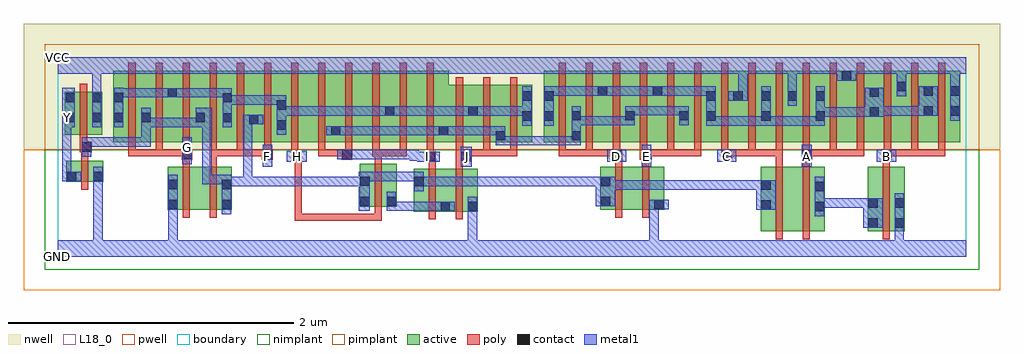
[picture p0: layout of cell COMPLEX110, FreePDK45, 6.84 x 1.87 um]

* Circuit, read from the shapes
.subckt COMPLEX110 A B C D E F G GND H I J VCC Y
M1 GND n1 Y VSUBS nfet w=0.15u l=0.05u
M2 n2 G GND VSUBS nfet w=0.3u l=0.05u
M3 n1 F n2 VSUBS nfet w=0.3u l=0.05u
M4 n3 H n1 VSUBS nfet w=0.3u l=0.05u
M5 n3 I n1 VSUBS nfet w=0.3u l=0.05u
M6 GND J n3 VSUBS nfet w=0.3u l=0.05u
M7 n4 D n1 VSUBS nfet w=0.3u l=0.05u
M8 GND E n4 VSUBS nfet w=0.3u l=0.05u
M9 n5 C n1 VSUBS nfet w=0.45u l=0.05u
M10 n6 A n5 VSUBS nfet w=0.45u l=0.05u
M11 GND B n6 VSUBS nfet w=0.45u l=0.05u
M12 VCC n1 Y n7 pfet w=0.3u l=0.05u
M13 n1 G n8 n7 pfet w=0.5u l=0.05u m=3
M14 n8 F n1 n7 pfet w=0.5u l=0.05u m=3
M15 n9 H n8 n7 pfet w=0.5u l=0.05u
M16 n10 I n9 n7 pfet w=0.5u l=0.05u
M17 n11 I n10 n7 pfet w=0.5u l=0.05u
M18 n8 H n11 n7 pfet w=0.5u l=0.05u
M19 n12 H n8 n7 pfet w=0.5u l=0.05u
M20 n10 I n12 n7 pfet w=0.5u l=0.05u
M21 n8 J n10 n7 pfet w=0.4u l=0.05u m=3
M22 n10 D n13 n7 pfet w=0.5u l=0.05u m=3
M23 n13 E n10 n7 pfet w=0.5u l=0.05u m=3
M24 VCC C n13 n7 pfet w=0.5u l=0.05u m=3
M25 n13 A VCC n7 pfet w=0.5u l=0.05u m=3
M26 VCC B n13 n7 pfet w=0.5u l=0.05u m=3
.ends

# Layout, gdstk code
import gdstk
lib = gdstk.Library(unit=1e-6, precision=1e-09)
def R(c, l, rs):  # rectangles x0, y0, x1, y1
    for r in rs: c.add(gdstk.rectangle(r[:2], r[2:], *l))
def A(c, l, x, y, w, h, nx, ny, dx, dy):  # array of equal rectangles
    R(c, l, [(x+i*dx, y+j*dy, x+i*dx+w, y+j*dy+h) for i in range(nx) for j in range(ny)])
active = (1, 0)
pwell = (2, 0)
nwell = (3, 0)
nimplant = (4, 0)
pimplant = (5, 0)
poly = (9, 0)
contact = (10, 0)
metal1 = (11, 0)
L18_0 = (18, 0)
boundary = (235, 0)

complex110 = lib.new_cell('COMPLEX110')
A(complex110, active, 4.927, 0.2, 0.075, 0.43, 3, 1, 0.375, 0)
A(complex110, active, 4.732, 0.805, 0.27, 0.5, 3, 1, 0.38, 0)
A(complex110, active, 4.732, 0.807, 0.075, 0.498, 3, 1, 0.38, 0)
A(complex110, active, 4.927, 0.807, 0.075, 0.393, 3, 1, 0.38, 0)
R(complex110, active, [(4.927,0.18,5.152,0.63), (5.152,0.18,5.377,0.63), (5.677,0.18,5.937,0.63), (5.862,0.182,5.937,0.63), (2.495,0.317,2.755,0.617), (2.68,0.317,2.755,0.48), (2.68,0.317,2.945,0.617), (2.87,0.317,2.945,0.48), (0.772,0.33,0.997,0.63), (0.772,0.33,0.847,0.63), (0.997,0.33,1.222,0.63), (1.147,0.33,1.222,0.63), (2.495,0.33,2.57,0.617), (3.802,0.33,4.027,0.63), (3.802,0.33,3.877,0.63), (4.027,0.33,4.252,0.63), (4.177,0.33,4.252,0.497), (2.117,0.352,2.192,0.652), (2.117,0.352,2.377,0.652), (2.302,0.352,2.377,0.652), (0.062,0.525,0.137,0.675), (0.062,0.525,0.322,0.675), (0.247,0.525,0.322,0.675), (0.392,0.805,0.657,1.305), (0.392,0.805,0.467,1.2), (0.582,0.805,0.842,1.305), (0.582,0.805,0.657,1.07), (0.767,0.805,1.037,1.305), (0.767,0.805,0.842,1.2), (0.962,0.805,1.227,1.305), (0.962,0.805,1.037,1.07), (1.152,0.805,1.412,1.305), (1.337,0.805,1.607,1.305), (1.337,0.805,1.412,1.07), (1.532,0.805,1.607,1.2), (1.532,0.805,1.757,1.305), (1.757,0.805,1.987,1.305), (1.912,0.805,1.987,1.07), (1.912,0.805,2.137,1.305), (2.137,0.805,2.365,1.305), (2.29,0.805,2.365,1.2), (2.29,0.805,2.517,1.305), (2.517,0.805,2.742,1.305), (2.667,0.805,2.742,1.07), (2.667,0.805,2.95,1.205), (2.875,0.805,3.142,1.205), (3.067,0.805,3.142,1.07), (3.067,0.805,3.327,1.205), (3.252,0.805,3.327,1.2), (3.407,0.805,3.672,1.305), (3.407,0.805,3.482,1.2), (3.597,0.805,3.857,1.305), (3.597,0.805,3.672,1.07), (3.782,0.805,4.05,1.305), (3.975,0.805,4.242,1.305), (3.975,0.805,4.05,1.07), (4.167,0.805,4.427,1.305), (4.352,0.805,4.617,1.305), (4.542,0.805,4.807,1.305), (4.927,0.805,5.187,1.305), (5.307,0.805,5.567,1.305), (5.687,0.805,5.952,1.305), (5.877,0.805,6.14,1.305), (6.065,0.805,6.327,1.305), (6.252,0.805,6.327,1.305), (1.152,0.807,1.227,1.2), (3.782,0.807,3.857,1.2), (4.167,0.807,4.242,1.2), (4.352,0.807,4.427,1.07), (4.542,0.807,4.617,1.2), (5.877,0.807,5.952,1.305), (6.065,0.807,6.14,1.2), (0.052,0.857,0.312,1.157), (0.052,0.857,0.127,1.155), (0.237,0.857,0.312,1.157), (2.875,0.907,2.95,1.2)])
R(complex110, pwell, [(-0.235,-0.235,6.605,0.75)])
R(complex110, nwell, [(-0.235,0.75,6.605,1.635)])
R(complex110, nimplant, [(-0.09,-0.09,6.46,0.75)])
R(complex110, pimplant, [(-0.09,0.75,6.46,1.49)])
A(complex110, poly, 0.497, 0.705, 0.05, 0.095, 6, 1, 0.19, 0)
A(complex110, poly, 1.827, 0.705, 0.05, 0.095, 4, 1, 0.19, 0)
A(complex110, poly, 2.792, 0.705, 0.05, 0.095, 3, 1, 0.19, 0)
A(complex110, poly, 3.512, 0.705, 0.05, 0.095, 15, 1, 0.19, 0)
A(complex110, poly, 4.272, 0.705, 0.24, 0.05, 4, 1, 0.57, 0)
A(complex110, poly, 0.497, 0.75, 0.05, 0.61, 12, 1, 0.19, 0)
A(complex110, poly, 2.792, 0.75, 0.05, 0.51, 3, 1, 0.19, 0)
A(complex110, poly, 3.512, 0.75, 0.05, 0.61, 15, 1, 0.19, 0)
R(complex110, poly, [(5.032,0.125,5.082,0.685), (5.222,0.125,5.272,0.685), (5.782,0.125,5.832,0.685), (1.662,0.252,1.712,0.302), (1.662,0.252,1.712,0.302), (1.662,0.252,1.712,0.302), (1.662,0.252,1.712,0.302), (1.662,0.252,1.712,0.302), (1.662,0.252,1.845,0.302), (1.662,0.252,1.712,0.715), (1.795,0.252,1.845,0.302), (1.795,0.252,1.845,0.302), (1.795,0.252,1.845,0.302), (1.795,0.252,1.845,0.302), (1.795,0.252,1.845,0.302), (1.795,0.252,2.01,0.302), (1.96,0.252,2.01,0.302), (1.96,0.252,2.01,0.302), (1.96,0.252,2.01,0.302), (1.96,0.252,2.01,0.302), (1.96,0.252,2.01,0.302), (1.96,0.252,2.272,0.302), (2.222,0.252,2.272,0.347), (2.222,0.252,2.272,0.302), (2.6,0.262,2.65,0.672), (2.79,0.262,2.84,0.672), (0.877,0.275,0.927,0.685), (1.067,0.275,1.117,0.685), (3.907,0.275,3.957,0.685), (4.097,0.275,4.147,0.685), (2.222,0.297,2.272,0.707), (0.167,0.47,0.217,0.73), (2.6,0.622,2.65,0.717), (2.79,0.622,2.84,0.717), (0.877,0.635,0.927,0.73), (1.067,0.635,1.117,0.755), (3.907,0.635,3.957,0.73), (4.097,0.635,4.147,0.73), (5.032,0.635,5.082,0.755), (5.222,0.635,5.272,0.73), (5.782,0.635,5.832,0.73), (2.222,0.657,2.272,0.755), (1.637,0.665,1.712,0.74), (2.575,0.667,2.65,0.742), (2.79,0.667,2.897,0.755), (0.167,0.68,0.217,0.782), (0.87,0.68,0.945,0.755), (1.432,0.68,1.507,0.755), (1.992,0.68,2.067,0.755), (3.882,0.68,3.957,0.755), (4.082,0.68,4.165,0.755), (4.652,0.68,4.727,0.755), (5.215,0.68,5.29,0.755), (5.772,0.68,5.847,0.755), (1.637,0.69,1.687,0.8), (2.587,0.692,2.637,0.8), (0.497,0.705,0.737,0.755), (0.497,0.705,0.547,0.755), (0.497,0.705,0.547,0.755), (0.497,0.705,0.547,0.755), (0.687,0.705,0.737,0.755), (0.687,0.705,0.737,0.755), (0.687,0.705,0.737,0.755), (0.687,0.705,0.92,0.755), (1.067,0.705,1.307,0.755), (1.067,0.705,1.117,0.755), (1.067,0.705,1.117,0.755), (1.067,0.705,1.117,0.755), (1.257,0.705,1.307,0.755), (1.257,0.705,1.307,0.755), (1.257,0.705,1.307,0.755), (1.257,0.705,1.482,0.755), (1.827,0.705,1.877,0.755), (1.827,0.705,1.877,0.755), (1.827,0.705,1.877,0.755), (1.827,0.705,2.042,0.755), (2.207,0.705,2.272,0.755), (2.222,0.705,2.272,0.755), (2.222,0.705,2.272,0.755), (2.222,0.705,2.447,0.755), (2.397,0.705,2.447,0.755), (2.847,0.705,2.897,0.755), (2.847,0.705,2.897,0.755), (2.847,0.705,3.032,0.755), (2.982,0.705,3.032,0.755), (2.982,0.705,3.045,0.755), (2.995,0.705,3.045,0.755), (2.995,0.705,3.222,0.755), (3.172,0.705,3.222,0.755), (3.512,0.705,3.752,0.755), (3.512,0.705,3.562,0.755), (3.512,0.705,3.562,0.755), (3.512,0.705,3.562,0.755), (3.702,0.705,3.752,0.755), (3.702,0.705,3.932,0.755), (3.882,0.705,3.932,0.755), (3.882,0.705,3.932,0.755), (4.115,0.705,4.165,0.755), (4.115,0.705,4.165,0.755), (4.115,0.705,4.322,0.755), (4.272,0.705,4.322,0.755), (4.272,0.705,4.322,0.755), (4.272,0.705,4.322,0.755), (4.462,0.705,4.512,0.755), (4.677,0.705,4.727,0.755), (4.677,0.705,4.727,0.755), (4.677,0.705,4.892,0.755), (4.842,0.705,4.892,0.755), (4.842,0.705,4.892,0.755), (4.842,0.705,4.892,0.755), (5.032,0.705,5.082,0.755), (5.24,0.705,5.29,0.755), (5.24,0.705,5.29,0.755), (5.24,0.705,5.462,0.755), (5.412,0.705,5.462,0.755), (5.412,0.705,5.462,0.755), (5.412,0.705,5.462,0.755), (5.602,0.705,5.652,0.755), (5.797,0.705,5.847,0.755), (5.797,0.705,5.847,0.755), (5.797,0.705,6.032,0.755), (5.982,0.705,6.032,0.755), (5.982,0.705,6.032,0.755), (5.982,0.705,6.032,0.755), (6.172,0.705,6.222,0.755), (0.157,0.732,0.24,0.807), (0.157,0.757,0.207,0.852), (0.157,0.802,0.207,1.212)])
R(complex110, contact, [(5.682,0.205,5.747,0.27), (5.867,0.205,5.932,0.27), (5.307,0.32,5.372,0.385), (2.685,0.322,2.75,0.387), (2.875,0.322,2.94,0.387), (4.932,0.332,4.997,0.397), (0.777,0.335,0.842,0.4), (1.152,0.335,1.217,0.4), (4.182,0.335,4.247,0.4), (5.682,0.345,5.747,0.41), (5.867,0.345,5.932,0.41), (3.807,0.355,3.872,0.42), (2.122,0.357,2.187,0.422), (2.307,0.357,2.372,0.422), (5.307,0.46,5.372,0.525), (4.932,0.472,4.997,0.537), (0.777,0.475,0.842,0.54), (1.152,0.475,1.217,0.54), (2.5,0.495,2.565,0.56), (3.807,0.495,3.872,0.56), (2.122,0.497,2.187,0.562), (0.067,0.53,0.132,0.595), (0.252,0.53,0.317,0.595), (1.642,0.67,1.707,0.735), (2.58,0.672,2.645,0.737), (2.827,0.672,2.892,0.737), (0.875,0.685,0.94,0.75), (1.437,0.685,1.502,0.75), (1.997,0.685,2.062,0.75), (3.887,0.685,3.952,0.75), (4.095,0.685,4.16,0.75), (4.657,0.685,4.722,0.75), (5.22,0.685,5.285,0.75), (5.777,0.685,5.842,0.75), (0.17,0.737,0.235,0.802), (3.072,0.817,3.137,0.882), (3.602,0.817,3.667,0.882), (1.917,0.852,1.982,0.917), (2.672,0.852,2.737,0.917), (1.537,0.892,1.602,0.957), (1.342,0.93,1.407,0.995), (1.157,0.942,1.222,1.007), (0.057,0.945,0.122,1.01), (0.242,0.945,0.307,1.01), (0.397,0.945,0.462,1.01), (0.587,0.945,0.652,1.01), (0.967,0.945,1.032,1.01), (3.257,0.955,3.322,1.02), (3.412,0.955,3.477,1.02), (4.547,0.955,4.612,1.02), (4.932,0.955,4.997,1.02), (5.312,0.955,5.377,1.02), (3.602,0.957,3.667,1.022), (3.98,0.957,4.045,1.022), (4.357,0.957,4.422,1.022), (5.692,0.982,5.757,1.047), (2.295,0.99,2.36,1.055), (2.88,0.99,2.945,1.055), (6.07,0.99,6.135,1.055), (6.257,0.99,6.322,1.055), (1.537,1.032,1.602,1.097), (1.157,1.082,1.222,1.147), (0.057,1.085,0.122,1.15), (0.242,1.085,0.307,1.15), (0.397,1.085,0.462,1.15), (3.257,1.095,3.322,1.16), (3.412,1.095,3.477,1.16), (4.547,1.095,4.612,1.16), (4.737,1.095,4.802,1.16), (4.932,1.095,4.997,1.16), (5.117,1.095,5.182,1.16), (5.312,1.095,5.377,1.16), (0.772,1.117,0.837,1.182), (5.692,1.122,5.757,1.187), (3.787,1.13,3.852,1.195), (4.172,1.13,4.237,1.195), (6.07,1.13,6.135,1.195), (6.257,1.13,6.322,1.195), (5.882,1.162,5.947,1.227), (5.497,1.235,5.562,1.3)])
R(complex110, metal1, [(0,0,6.37,0.115), (0.252,0.05,0.317,0.115), (0.252,0.05,0.317,0.115), (0.252,0.05,0.317,0.115), (0.252,0.05,0.317,0.115), (0.252,0.05,0.317,0.115), (0.252,0.05,0.317,0.115), (0.252,0.05,0.317,0.56), (0.777,0.05,0.842,0.115), (0.777,0.05,0.842,0.115), (0.777,0.05,0.842,0.115), (0.777,0.05,0.842,0.115), (0.777,0.05,0.842,0.365), (2.875,0.05,2.94,0.352), (4.147,0.05,4.212,0.115), (4.147,0.05,4.212,0.115), (4.147,0.05,4.212,0.4), (5.867,0.05,5.932,0.235), (5.867,0.05,5.932,0.115), (5.867,0.05,5.932,0.115), (5.867,0.17,5.932,0.445), (5.647,0.205,5.782,0.41), (5.307,0.285,5.372,0.56), (2.875,0.287,2.94,0.352), (2.875,0.287,2.94,0.352), (2.875,0.287,2.94,0.352), (2.875,0.287,2.94,0.352), (2.875,0.287,2.94,0.422), (0.777,0.3,0.842,0.575), (1.152,0.3,1.217,0.575), (2.112,0.322,2.187,0.597), (2.307,0.322,2.372,0.457), (2.307,0.322,2.452,0.387), (2.387,0.322,2.452,0.387), (2.387,0.322,2.532,0.387), (2.467,0.322,2.532,0.387), (2.467,0.322,2.59,0.387), (2.525,0.322,2.59,0.387), (2.525,0.322,2.715,0.387), (2.65,0.322,2.785,0.387), (4.897,0.332,5.032,0.537), (4.147,0.335,4.212,0.4), (4.147,0.335,4.212,0.4), (4.147,0.335,4.282,0.4), (5.307,0.345,5.372,0.41), (5.307,0.345,5.372,0.41), (5.307,0.345,5.572,0.41), (5.507,0.345,5.572,0.41), (5.507,0.345,5.572,0.41), (5.507,0.345,5.572,0.41), (5.507,0.345,5.712,0.41), (3.772,0.355,3.907,0.56), (2.5,0.46,2.565,0.595), (3.842,0.472,3.907,0.537), (3.842,0.472,3.907,0.537), (3.842,0.472,4.065,0.537), (4,0.472,4.065,0.537), (4,0.472,4.065,0.537), (4,0.472,4.065,0.537), (4,0.472,4.285,0.537), (4.22,0.472,4.285,0.537), (4.22,0.472,4.285,0.537), (4.22,0.472,4.285,0.537), (4.22,0.472,4.475,0.537), (4.41,0.472,4.475,0.537), (4.41,0.472,4.475,0.537), (4.41,0.472,4.475,0.537), (4.41,0.472,4.612,0.537), (4.547,0.472,4.612,0.537), (4.547,0.472,4.612,0.537), (4.547,0.472,4.612,0.537), (4.547,0.472,4.825,0.537), (4.76,0.472,4.825,0.537), (4.76,0.472,4.825,0.537), (4.76,0.472,4.825,0.537), (4.76,0.472,4.962,0.537), (0.252,0.495,0.317,0.63), (1.152,0.495,1.365,0.56), (1.3,0.495,1.365,0.56), (1.3,0.495,1.365,0.56), (1.3,0.495,1.365,0.56), (1.3,0.495,1.365,0.56), (1.3,0.495,1.365,0.56), (1.3,0.495,1.502,0.56), (1.3,0.495,1.365,0.995), (1.437,0.495,1.502,0.56), (1.437,0.495,1.502,0.56), (1.437,0.495,1.502,0.56), (1.437,0.495,1.64,0.56), (1.575,0.495,1.64,0.56), (1.575,0.495,1.81,0.56), (1.745,0.495,1.81,0.56), (1.745,0.495,1.88,0.56), (1.815,0.495,1.88,0.56), (1.815,0.495,2.017,0.56), (1.952,0.495,2.017,0.56), (1.952,0.495,2.177,0.56), (2.112,0.495,2.177,0.56), (2.112,0.495,2.177,0.56), (2.5,0.495,2.702,0.56), (2.637,0.495,2.702,0.56), (2.637,0.495,2.702,0.56), (2.637,0.495,2.702,0.56), (2.637,0.495,2.892,0.56), (2.827,0.495,2.892,0.56), (2.827,0.495,3,0.56), (2.935,0.495,3,0.56), (2.935,0.495,3.047,0.56), (2.982,0.495,3.047,0.56), (2.982,0.495,3.185,0.56), (3.12,0.495,3.185,0.56), (3.12,0.495,3.185,0.56), (3.12,0.495,3.185,0.56), (3.12,0.495,3.322,0.56), (3.257,0.495,3.322,0.56), (3.257,0.495,3.477,0.56), (3.412,0.495,3.477,0.56), (3.412,0.495,3.615,0.56), (3.55,0.495,3.615,0.56), (3.55,0.495,3.615,0.56), (3.55,0.495,3.615,0.56), (3.55,0.495,3.76,0.56), (3.695,0.495,3.76,0.56), (3.695,0.495,3.837,0.56), (1.015,0.51,1.08,0.575), (1.015,0.51,1.08,0.575), (1.015,0.51,1.08,0.575), (1.015,0.51,1.217,0.575), (1.015,0.51,1.08,0.975), (1.152,0.51,1.217,0.575), (1.152,0.51,1.217,0.575), (0.032,0.53,0.167,0.595), (0.032,0.53,0.097,0.727), (2.122,0.53,2.317,0.595), (2.252,0.53,2.317,0.595), (2.252,0.53,2.317,0.595), (2.252,0.53,2.317,0.595), (2.252,0.53,2.452,0.595), (2.387,0.53,2.452,0.595), (2.387,0.53,2.565,0.595), (1.437,0.632,1.505,0.785), (2.827,0.632,2.902,0.772), (4.095,0.632,4.162,0.785), (5.217,0.632,5.285,0.785), (0.875,0.65,0.942,0.837), (0.032,0.662,0.097,0.727), (0.032,0.662,0.097,0.727), (0.032,0.662,0.097,0.727), (0.032,0.662,0.097,0.975), (1.607,0.665,1.747,0.74), (2.522,0.667,2.68,0.737), (3.852,0.667,3.987,0.75), (4.622,0.667,4.757,0.75), (5.742,0.667,5.877,0.75), (2.467,0.672,2.587,0.737), (2.467,0.672,2.532,0.75), (1.962,0.685,2.097,0.75), (2.032,0.685,2.155,0.75), (2.09,0.685,2.155,0.75), (2.09,0.685,2.315,0.75), (2.25,0.685,2.315,0.75), (2.25,0.685,2.325,0.75), (2.26,0.685,2.325,0.75), (2.26,0.685,2.452,0.75), (2.387,0.685,2.452,0.75), (2.387,0.685,2.532,0.75), (0.17,0.702,0.235,0.837), (0.17,0.772,0.235,0.837), (0.17,0.772,0.235,0.837), (0.17,0.772,0.445,0.837), (0.38,0.772,0.445,0.837), (0.38,0.772,0.445,0.837), (0.38,0.772,0.445,0.837), (0.38,0.772,0.652,0.837), (0.587,0.772,0.652,0.837), (0.587,0.772,0.652,0.975), (3.072,0.782,3.137,0.917), (3.072,0.782,3.322,0.847), (3.257,0.782,3.322,0.847), (3.257,0.782,3.322,0.847), (3.257,0.782,3.322,0.847), (3.257,0.782,3.46,0.847), (3.395,0.782,3.46,0.847), (3.395,0.782,3.46,0.847), (3.395,0.782,3.46,0.847), (3.395,0.782,3.667,0.847), (3.602,0.782,3.667,1.057), (1.882,0.852,2.017,0.917), (1.952,0.852,2.017,0.917), (1.952,0.852,2.017,0.917), (1.952,0.852,2.167,0.917), (2.102,0.852,2.167,0.917), (2.102,0.852,2.315,0.917), (2.25,0.852,2.315,0.917), (2.25,0.852,2.325,0.917), (2.26,0.852,2.325,0.917), (2.26,0.852,2.452,0.917), (2.387,0.852,2.452,0.917), (2.387,0.852,2.532,0.917), (2.467,0.852,2.532,0.917), (2.467,0.852,2.59,0.917), (2.525,0.852,2.59,0.917), (2.525,0.852,2.702,0.917), (2.637,0.852,2.772,0.917), (2.707,0.852,2.91,0.917), (2.845,0.852,2.91,0.917), (2.845,0.852,3,0.917), (2.935,0.852,3,0.917), (2.935,0.852,3.047,0.917), (2.982,0.852,3.047,0.917), (2.982,0.852,3.137,0.917), (1.537,0.857,1.602,1.132), (1.157,0.907,1.222,1.182), (0.032,0.91,0.122,1.185), (0.242,0.91,0.307,1.185), (0.397,0.91,0.462,1.185), (0.587,0.91,0.652,0.975), (0.587,0.91,0.652,0.975), (0.587,0.91,0.652,1.045), (0.587,0.91,0.79,0.975), (0.725,0.91,0.79,0.975), (0.725,0.91,1.032,0.975), (0.967,0.91,1.032,0.975), (0.967,0.91,1.032,0.975), (0.967,0.91,1.08,1.045), (3.257,0.92,3.322,1.195), (3.412,0.92,3.477,1.195), (4.547,0.92,4.612,1.195), (4.547,0.92,4.612,0.985), (4.547,0.92,4.612,0.985), (4.547,0.92,4.75,0.985), (4.685,0.92,4.75,0.985), (4.685,0.92,4.75,0.985), (4.685,0.92,4.75,0.985), (4.685,0.92,4.997,0.985), (4.932,0.92,4.997,1.195), (4.932,0.92,4.997,0.985), (4.932,0.92,4.997,0.985), (4.932,0.92,5.235,0.985), (5.17,0.92,5.235,0.985), (5.17,0.92,5.235,0.985), (5.17,0.92,5.235,0.985), (5.17,0.92,5.377,0.985), (5.312,0.92,5.377,1.195), (3.602,0.922,3.752,0.987), (3.687,0.922,3.752,0.987), (3.687,0.922,3.897,0.987), (3.832,0.922,3.897,0.987), (3.832,0.922,3.897,0.987), (3.832,0.922,3.897,0.987), (3.832,0.922,4.045,0.987), (3.98,0.922,4.045,1.057), (4.357,0.922,4.422,1.057), (1.3,0.93,1.442,0.995), (6.257,0.955,6.322,1.23), (5.312,0.982,5.377,1.047), (5.312,0.982,5.377,1.047), (5.312,0.982,5.572,1.047), (5.507,0.982,5.572,1.047), (5.507,0.982,5.572,1.047), (5.507,0.982,5.572,1.047), (5.507,0.982,5.722,1.047), (5.657,0.982,5.792,1.187), (1.537,0.99,1.742,1.055), (1.677,0.99,1.742,1.055), (1.677,0.99,1.81,1.055), (1.745,0.99,1.81,1.055), (1.745,0.99,1.88,1.055), (1.815,0.99,1.88,1.055), (1.815,0.99,2.017,1.055), (1.952,0.99,2.017,1.055), (1.952,0.99,2.177,1.055), (2.112,0.99,2.177,1.055), (2.112,0.99,2.177,1.055), (2.112,0.99,2.177,1.055), (2.112,0.99,2.315,1.055), (2.25,0.99,2.315,1.055), (2.25,0.99,2.325,1.055), (2.26,0.99,2.395,1.055), (2.33,0.99,2.452,1.055), (2.387,0.99,2.452,1.055), (2.387,0.99,2.532,1.055), (2.467,0.99,2.532,1.055), (2.467,0.99,2.755,1.055), (2.69,0.99,2.755,1.055), (2.69,0.99,2.755,1.055), (2.69,0.99,2.755,1.055), (2.69,0.99,2.91,1.055), (2.845,0.99,2.91,1.055), (2.845,0.99,2.91,1.055), (2.845,0.99,2.98,1.055), (2.915,0.99,3.047,1.055), (2.982,0.99,3.047,1.055), (2.982,0.99,3.185,1.055), (3.12,0.99,3.185,1.055), (3.12,0.99,3.185,1.055), (3.12,0.99,3.185,1.055), (3.12,0.99,3.322,1.055), (5.727,0.99,5.932,1.055), (5.867,0.99,5.932,1.055), (5.867,0.99,5.932,1.055), (5.867,0.99,5.932,1.055), (5.867,0.99,6.1,1.055), (6.035,0.99,6.1,1.055), (6.035,0.99,6.1,1.055), (6.035,0.99,6.17,1.195), (3.98,0.992,4.045,1.057), (3.98,0.992,4.045,1.057), (3.98,0.992,4.065,1.057), (4,0.992,4.065,1.057), (4,0.992,4.202,1.057), (4.137,0.992,4.202,1.057), (4.137,0.992,4.202,1.057), (4.137,0.992,4.202,1.057), (4.137,0.992,4.422,1.057), (5.117,1.06,5.182,1.195), (1.157,1.067,1.365,1.132), (1.3,1.067,1.365,1.132), (1.3,1.067,1.365,1.132), (1.3,1.067,1.365,1.132), (1.3,1.067,1.502,1.132), (1.437,1.067,1.502,1.132), (1.437,1.067,1.602,1.132), (4.702,1.095,4.837,1.16), (4.772,1.095,4.837,1.35), (0.397,1.117,0.462,1.182), (0.397,1.117,0.462,1.182), (0.397,1.117,0.652,1.182), (0.587,1.117,0.652,1.182), (0.587,1.117,0.652,1.182), (0.587,1.117,0.652,1.182), (0.587,1.117,0.802,1.182), (0.737,1.117,0.872,1.182), (0.807,1.117,1.01,1.182), (0.945,1.117,1.01,1.182), (0.945,1.117,1.01,1.182), (0.945,1.117,1.01,1.182), (0.945,1.117,1.222,1.182), (1.157,1.117,1.222,1.182), (1.157,1.117,1.222,1.182), (0.242,1.12,0.307,1.185), (0.242,1.12,0.307,1.185), (0.242,1.12,0.307,1.35), (5.882,1.127,5.947,1.262), (3.412,1.13,3.477,1.195), (3.412,1.13,3.477,1.195), (3.412,1.13,3.615,1.195), (3.55,1.13,3.615,1.195), (3.55,1.13,3.76,1.195), (3.695,1.13,3.76,1.195), (3.695,1.13,3.817,1.195), (3.752,1.13,3.887,1.195), (3.822,1.13,3.927,1.195), (3.862,1.13,3.927,1.195), (3.862,1.13,4.045,1.195), (3.98,1.13,4.045,1.195), (3.98,1.13,4.065,1.195), (4,1.13,4.065,1.195), (4,1.13,4.202,1.195), (4.137,1.13,4.272,1.195), (4.207,1.13,4.272,1.195), (4.207,1.13,4.272,1.195), (4.207,1.13,4.475,1.195), (4.41,1.13,4.475,1.195), (4.41,1.13,4.475,1.195), (4.41,1.13,4.475,1.195), (4.41,1.13,4.612,1.195), (5.117,1.13,5.182,1.35), (6.257,1.165,6.322,1.35), (5.882,1.197,5.947,1.35), (5.462,1.235,5.597,1.3), (5.532,1.235,5.597,1.35), (0,1.285,6.37,1.4)])
A(complex110, L18_0, 4.097, 0.667, 0.065, 0.065, 4, 1, 0.56, 0)
R(complex110, L18_0, [(0,0,6.37,0.115), (0.252,0.05,0.317,0.115), (0.252,0.05,0.317,0.115), (0.252,0.05,0.317,0.115), (0.252,0.05,0.317,0.115), (0.252,0.05,0.317,0.115), (0.252,0.05,0.317,0.115), (0.252,0.05,0.317,0.56), (0.777,0.05,0.842,0.115), (0.777,0.05,0.842,0.115), (0.777,0.05,0.842,0.115), (0.777,0.05,0.842,0.115), (0.777,0.05,0.842,0.365), (2.875,0.05,2.94,0.352), (4.147,0.05,4.212,0.115), (4.147,0.05,4.212,0.115), (4.147,0.05,4.212,0.4), (5.867,0.05,5.932,0.115), (5.867,0.05,5.932,0.115), (5.867,0.05,5.932,0.235), (5.867,0.17,5.932,0.445), (2.875,0.287,2.94,0.352), (2.875,0.287,2.94,0.352), (2.875,0.287,2.94,0.352), (2.875,0.287,2.94,0.352), (2.875,0.287,2.94,0.422), (0.777,0.3,0.842,0.575), (4.147,0.335,4.282,0.4), (4.147,0.335,4.212,0.4), (4.147,0.335,4.212,0.4), (0.252,0.495,0.317,0.63), (0.032,0.53,0.167,0.595), (0.032,0.53,0.097,0.727), (1.437,0.632,1.505,0.785), (2.827,0.632,2.902,0.772), (4.095,0.632,4.162,0.785), (5.217,0.632,5.285,0.785), (0.875,0.65,0.942,0.837), (0.032,0.662,0.097,0.727), (0.032,0.662,0.097,0.727), (0.032,0.662,0.097,0.727), (0.032,0.662,0.097,0.975), (1.607,0.665,1.747,0.74), (1.437,0.667,1.502,0.732), (1.647,0.667,1.712,0.732), (2.522,0.667,2.68,0.737), (2.557,0.667,2.622,0.732), (2.837,0.667,2.902,0.732), (3.852,0.667,3.987,0.75), (3.887,0.667,3.952,0.732), (4.622,0.667,4.757,0.75), (5.742,0.667,5.877,0.75), (2.467,0.672,2.532,0.75), (2.467,0.672,2.587,0.737), (1.962,0.685,2.097,0.75), (2.032,0.685,2.155,0.75), (2.09,0.685,2.155,0.75), (2.09,0.685,2.315,0.75), (2.25,0.685,2.315,0.75), (2.25,0.685,2.325,0.75), (2.26,0.685,2.325,0.75), (2.26,0.685,2.452,0.75), (2.387,0.685,2.452,0.75), (2.387,0.685,2.532,0.75), (0.877,0.737,0.942,0.802), (0.032,0.91,0.122,1.185), (0.242,0.91,0.307,1.185), (0.037,0.947,0.102,1.012), (6.257,0.955,6.322,1.23), (5.117,1.06,5.182,1.195), (4.702,1.095,4.837,1.16), (4.772,1.095,4.837,1.35), (0.242,1.12,0.307,1.185), (0.242,1.12,0.307,1.185), (0.242,1.12,0.307,1.35), (5.882,1.127,5.947,1.262), (5.117,1.13,5.182,1.35), (6.257,1.165,6.322,1.35), (5.882,1.197,5.947,1.35), (5.462,1.235,5.597,1.3), (5.532,1.235,5.597,1.35), (0,1.285,6.37,1.4)])
R(complex110, boundary, [(0,0,6.37,1.4)])
complex110.add(gdstk.Label('A', (5.25,0.7), layer=11, texttype=0))
complex110.add(gdstk.Label('B', (5.81,0.7), layer=11, texttype=0))
complex110.add(gdstk.Label('C', (4.69,0.7), layer=11, texttype=0))
complex110.add(gdstk.Label('D', (3.92,0.7), layer=11, texttype=0))
complex110.add(gdstk.Label('E', (4.13,0.7), layer=11, texttype=0))
complex110.add(gdstk.Label('F', (1.47,0.7), layer=11, texttype=0))
complex110.add(gdstk.Label('G', (0.91,0.77), layer=11, texttype=0))
complex110.add(gdstk.Label('H', (1.68,0.7), layer=11, texttype=0))
complex110.add(gdstk.Label('I', (2.59,0.7), layer=11, texttype=0))
complex110.add(gdstk.Label('J', (2.87,0.7), layer=11, texttype=0))
complex110.add(gdstk.Label('Y', (0.07,0.98), layer=11, texttype=0))
complex110.add(gdstk.Label('VCC', (0,1.4), layer=11, texttype=0))
complex110.add(gdstk.Label('GND', (0,0), layer=11, texttype=0))

lib.write_gds('COMPLEX110.gds')
